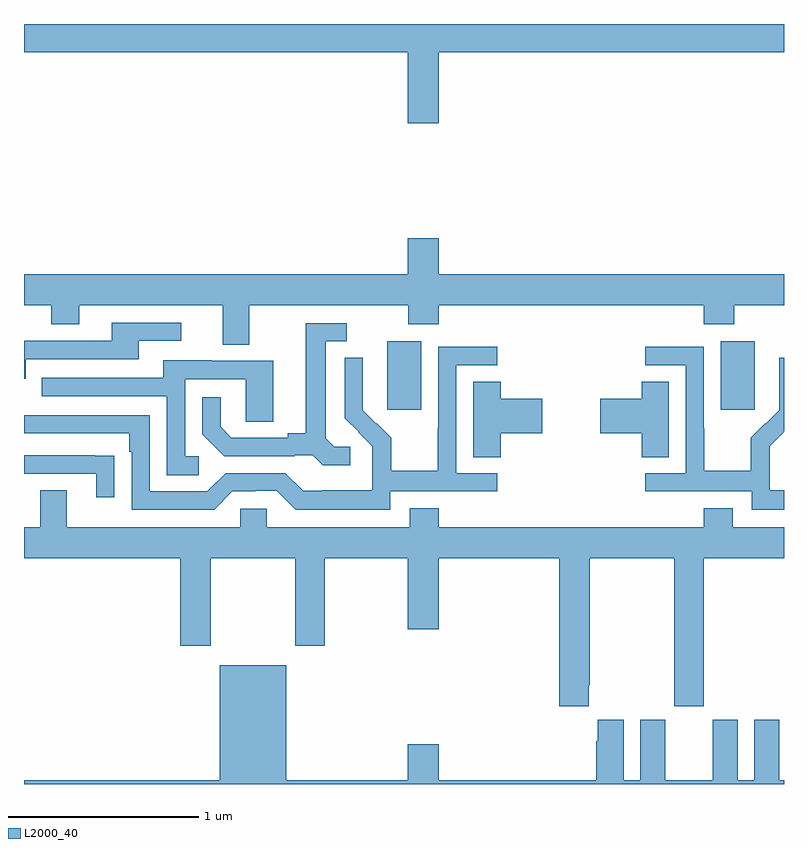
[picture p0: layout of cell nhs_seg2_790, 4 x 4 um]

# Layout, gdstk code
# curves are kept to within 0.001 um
import gdstk
lib = gdstk.Library(unit=1e-6, precision=1e-09)
def R(c, l, rs):  # rectangles x0, y0, x1, y1
    for r in rs: c.add(gdstk.rectangle(r[:2], r[2:], *l))
def P(c, l, *ps):  # polygons
    for p in ps: c.add(gdstk.Polygon(p, *l))
L2000_40 = (2000, 40)

nhs_seg2_790 = lib.new_cell('nhs_seg2_790')
R(nhs_seg2_790, L2000_40, [(152.912,629.769,153.091,630.13), (154.667,629.769,154.846,630.13)])
P(nhs_seg2_790, L2000_40, [(153.184,631.652),(155,631.652),(155,631.8),(151,631.8),(151,631.652),(153.02,631.652),(153.02,631.278),(153.184,631.278)],
  [(152.185,630.32),(153.022,630.32),(153.022,630.221),(153.182,630.221),(153.182,630.32),(154.577,630.32),(154.577,630.221),(154.737,630.221),(154.737,630.32),(155,630.32),(155,630.484),(153.184,630.484),(153.184,630.673),(153.02,630.673),(153.02,630.484),(151,630.484),(151,630.32),(151.144,630.32),(151.144,630.221),(151.291,630.221),(151.291,630.32),(152.045,630.32),(152.045,630.112),(152.185,630.112)],
  [(151.008,630.036),(151.603,630.036),(151.603,630.132),(151.828,630.132),(151.828,630.228),(151.463,630.228),(151.463,630.132),(151,630.132),(151,629.933),(151.008,629.933)],
  [(152.716,629.574),(152.634,629.574),(152.587,629.621),(152.587,630.129),(152.698,630.129),(152.698,630.225),(152.483,630.225),(152.483,629.645),(152.387,629.645),(152.387,629.622),(152.092,629.622),(152.035,629.679),(152.035,629.836),(151.938,629.836),(151.938,629.642),(152.054,629.526),(152.426,629.526),(152.426,629.529),(152.52,629.529),(152.572,629.477),(152.716,629.477)],
  [(155,629.347),(154.926,629.347),(154.926,629.481),(154.924,629.481),(154.924,629.578),(154.998,629.652),(154.997,629.653),(155,629.656),(155,630.044),(154.974,630.044),(154.974,629.89),(154.976,629.89),(154.976,629.768),(154.905,629.697),(154.902,629.7),(154.825,629.623),(154.825,629.449),(154.581,629.449),(154.581,629.672),(154.578,629.672),(154.578,630.102),(154.269,630.102),(154.269,630.003),(154.482,630.003),(154.482,629.436),(154.269,629.436),(154.269,629.34),(154.83,629.34),(154.83,629.243),(155,629.243)],
  [(152.928,629.34),(153.49,629.34),(153.49,629.436),(153.276,629.436),(153.276,630.003),(153.49,630.003),(153.49,630.102),(153.18,630.102),(153.18,629.672),(153.178,629.672),(153.178,629.449),(152.933,629.449),(152.933,629.623),(152.856,629.7),(152.853,629.697),(152.783,629.768),(152.784,630.044),(152.688,630.044),(152.688,629.726),(152.834,629.578),(152.834,629.481),(152.832,629.481),(152.832,629.347),(152.569,629.347),(152.569,629.343),(152.469,629.343),(152.376,629.436),(152.061,629.436),(151.965,629.34),(151.662,629.34),(151.662,629.742),(151,629.742),(151,629.646),(151.553,629.646),(151.553,629.549),(151.566,629.549),(151.566,629.244),(152.001,629.244),(152.097,629.34),(152.216,629.34),(152.216,629.343),(152.331,629.343),(152.431,629.243),(152.928,629.243)],
  [(151.921,629.526),(151.848,629.526),(151.848,629.931),(152.166,629.931),(152.166,629.707),(152.311,629.707),(152.311,630.027),(151.987,630.027),(151.987,630.031),(151.733,630.031),(151.733,629.937),(151.093,629.937),(151.093,629.841),(151.752,629.841),(151.752,629.425),(151.921,629.425)],
  [(153.509,629.645),(153.727,629.645),(153.727,629.828),(153.509,629.828),(153.509,629.918),(153.365,629.918),(153.365,629.521),(153.509,629.521)],
  [(154.393,629.918),(154.25,629.918),(154.25,629.828),(154.032,629.828),(154.032,629.645),(154.25,629.645),(154.25,629.521),(154.393,629.521)],
  [(151.475,629.528),(151.373,629.528),(151.373,629.529),(151,629.529),(151,629.433),(151.379,629.433),(151.379,629.31),(151.475,629.31)],
  [(153.973,628.321),(153.978,628.321),(153.978,628.988),(154.423,628.988),(154.423,628.209),(154.578,628.209),(154.578,628.988),(155,628.988),(155,629.152),(154.729,629.152),(154.729,629.251),(154.577,629.251),(154.577,629.152),(153.182,629.152),(153.182,629.251),(153.029,629.251),(153.029,629.152),(152.277,629.152),(152.277,629.25),(152.139,629.25),(152.139,629.152),(151.225,629.152),(151.225,629.347),(151.085,629.347),(151.085,629.152),(151,629.152),(151,628.988),(151.823,628.988),(151.823,628.527),(151.983,628.527),(151.983,628.988),(152.428,628.988),(152.428,628.527),(152.583,628.527),(152.583,628.988),(153.02,628.988),(153.02,628.614),(153.184,628.614),(153.184,628.988),(153.818,628.988),(153.818,628.209),(153.973,628.209)],
  [(155,627.82),(154.975,627.82),(154.975,628.138),(154.844,628.138),(154.844,627.82),(154.756,627.82),(154.756,628.138),(154.625,628.138),(154.625,627.82),(154.375,627.82),(154.375,628.138),(154.244,628.138),(154.244,627.82),(154.156,627.82),(154.156,628.138),(154.019,628.138),(154.019,628.025),(154.013,628.025),(154.013,627.82),(153.184,627.82),(153.184,628.009),(153.02,628.009),(153.02,627.82),(152.38,627.82),(152.38,628.426),(152.03,628.426),(152.03,627.82),(151,627.82),(151,627.8),(155,627.8)])

lib.write_gds('nhs_seg2_790.gds')
